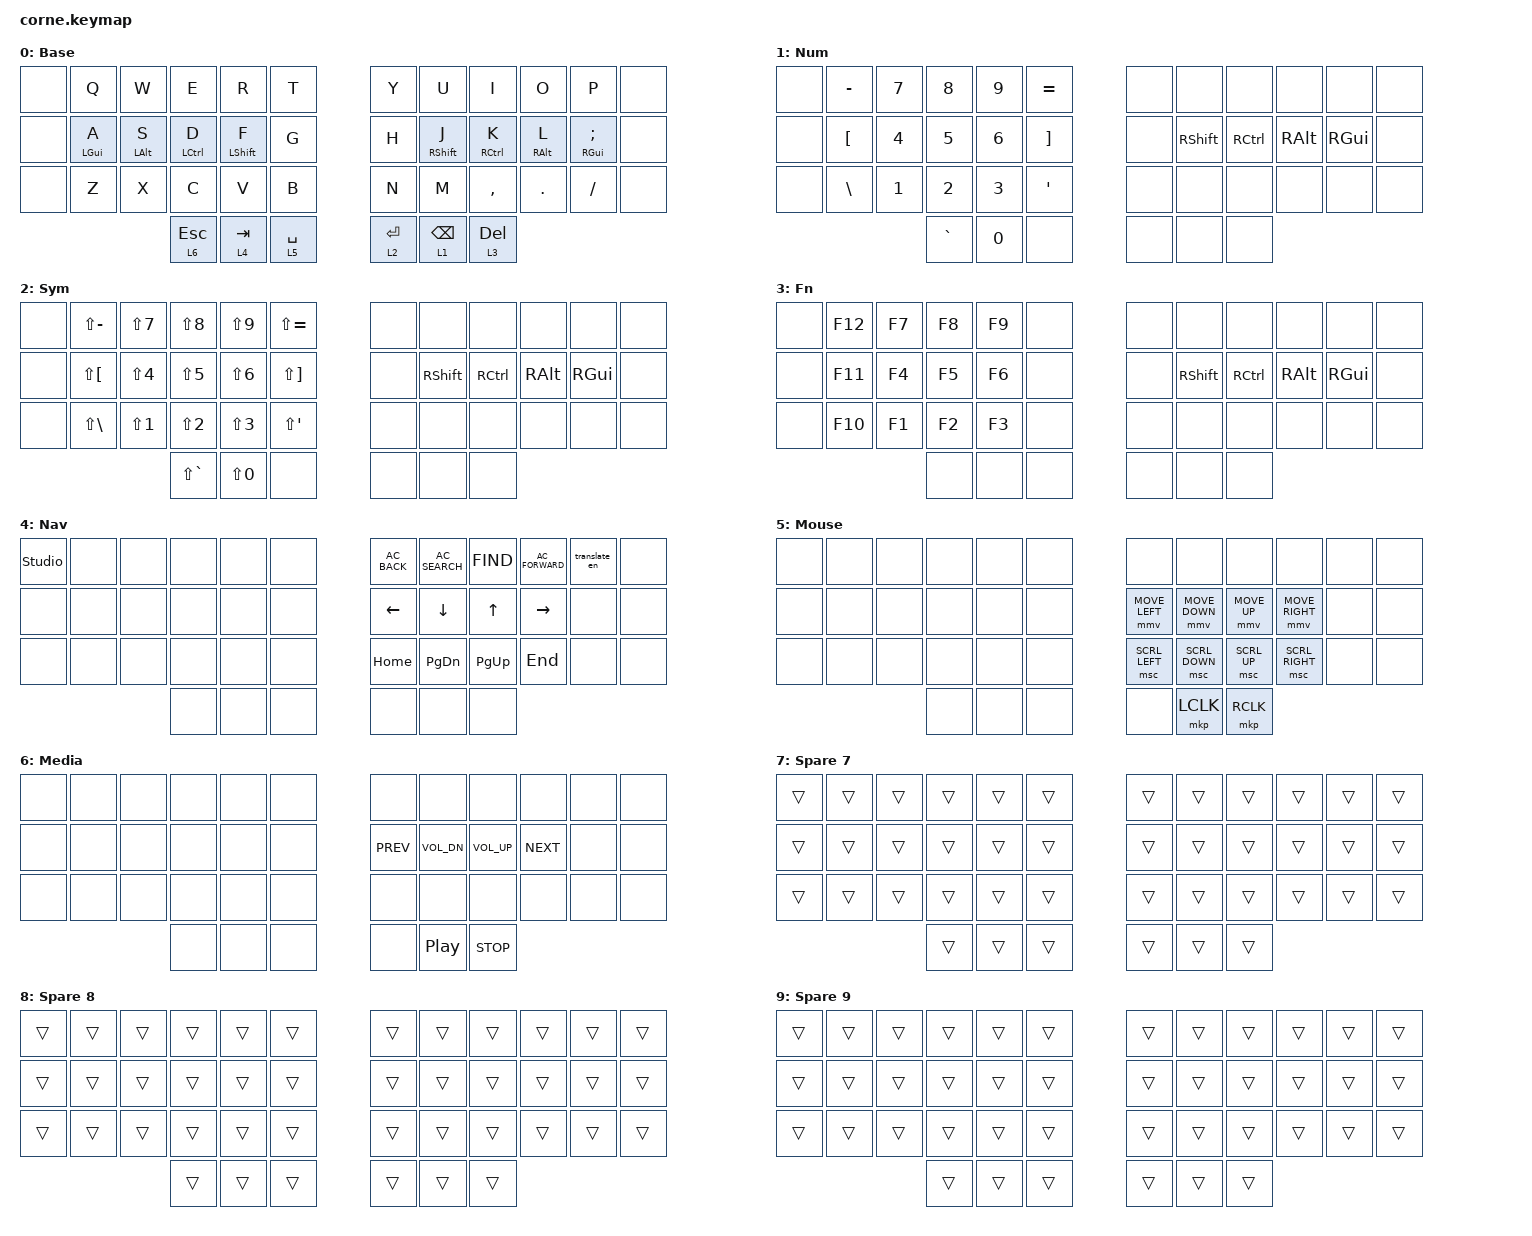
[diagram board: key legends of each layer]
/* Corne Cherry v3 (42 keys), ZMK v0.3. See config/corne.conf:
 * CONFIG_ZMK_POINTING=y
 * CONFIG_ZMK_HID_CONSUMER_REPORT_USAGES_FULL=y
 *
 * Each finger row is in typing order: left six | right six. The Vial
 * layout uses the inner five columns on each half. The only added binding
 * is Studio Unlock on Nav, immediately to the left of the Q position.
 */
#include <behaviors.dtsi>
#include <dt-bindings/zmk/keys.h>
#include <dt-bindings/zmk/pointing.h>

/* Vial tapping term: 200 ms, permissive hold, repeated tap can be held. */
&mt {
    tapping-term-ms = <200>;
    quick-tap-ms = <200>;
    flavor = "balanced";
};

&lt {
    tapping-term-ms = <200>;
    quick-tap-ms = <200>;
    flavor = "balanced";
};

/ {
    macros {
        translate_en: translate_en {
            compatible = "zmk,behavior-macro";
            #binding-cells = <0>;
            display-name = "Translate EN";
            tap-ms = <10>;
            wait-ms = <10>;
            /* Vial M0: "translate to English:" then Right Shift + Enter. */
            bindings = <&macro_tap>,
                       <&kp T &kp R &kp A &kp N &kp S &kp L &kp A &kp T &kp E &kp SPACE>,
                       <&kp T &kp O &kp SPACE>,
                       <&kp LS(E) &kp N &kp G &kp L &kp I &kp S &kp H &kp COLON>,
                       <&kp RS(ENTER)>;
        };
    };

    keymap {
        compatible = "zmk,keymap";

        base_layer {
            display-name = "Base";
            bindings = <
                &none  &kp Q        &kp W       &kp E        &kp R        &kp T        &kp Y        &kp U        &kp I        &kp O       &kp P         &none
                &none  &mt LGUI A   &mt LALT S  &mt LCTRL D  &mt LSHFT F  &kp G        &kp H        &mt RSHFT J  &mt RCTRL K  &mt RALT L  &mt RGUI SEMI &none
                &none  &kp Z        &kp X       &kp C        &kp V        &kp B        &kp N        &kp M        &kp COMMA    &kp DOT     &kp FSLH      &none
                                                &lt 6 ESC    &lt 4 TAB    &lt 5 SPACE  &lt 2 ENTER  &lt 1 BSPC   &lt 3 DELETE
            >;
        };

        number_layer {
            display-name = "Num";
            bindings = <
                &none  &kp MINUS  &kp N7  &kp N8     &kp N9  &kp EQUAL      &none  &none      &none      &none     &none     &none
                &none  &kp LBKT   &kp N4  &kp N5     &kp N6  &kp RBKT       &none  &kp RSHFT  &kp RCTRL  &kp RALT  &kp RGUI  &none
                &none  &kp BSLH   &kp N1  &kp N2     &kp N3  &kp SQT        &none  &none      &none      &none     &none     &none
                                          &kp GRAVE  &kp N0  &none          &none  &none      &none
            >;
        };

        symbol_layer {
            display-name = "Sym";
            bindings = <
                &none  &kp LS(MINUS)  &kp LS(N7)  &kp LS(N8)     &kp LS(N9)  &kp LS(EQUAL)   &none  &none      &none      &none     &none     &none
                &none  &kp LS(LBKT)   &kp LS(N4)  &kp LS(N5)     &kp LS(N6)  &kp LS(RBKT)    &none  &kp RSHFT  &kp RCTRL  &kp RALT  &kp RGUI  &none
                &none  &kp LS(BSLH)   &kp LS(N1)  &kp LS(N2)     &kp LS(N3)  &kp LS(SQT)     &none  &none      &none      &none     &none     &none
                                                  &kp LS(GRAVE)  &kp LS(N0)  &none           &none  &none      &none
            >;
        };

        function_layer {
            display-name = "Fn";
            bindings = <
                &none  &kp F12  &kp F7  &kp F8  &kp F9  &none       &none  &none      &none      &none     &none     &none
                &none  &kp F11  &kp F4  &kp F5  &kp F6  &none       &none  &kp RSHFT  &kp RCTRL  &kp RALT  &kp RGUI  &none
                &none  &kp F10  &kp F1  &kp F2  &kp F3  &none       &none  &none      &none      &none     &none     &none
                                        &none   &none   &none       &none  &none      &none
            >;
        };

        navigation_layer {
            display-name = "Nav";
            bindings = <
                &studio_unlock  &none  &none  &none  &none  &none       &kp C_AC_BACK  &kp C_AC_SEARCH  &kp K_FIND  &kp C_AC_FORWARD  &translate_en  &none
                &none           &none  &none  &none  &none  &none       &kp LEFT       &kp DOWN         &kp UP      &kp RIGHT         &none          &none
                &none           &none  &none  &none  &none  &none       &kp HOME       &kp PG_DN        &kp PG_UP   &kp END           &none          &none
                                              &none  &none  &none       &none          &none            &none
            >;
        };

        mouse_layer {
            display-name = "Mouse";
            bindings = <
                &none  &none  &none  &none  &none  &none       &none           &none           &none         &none            &none  &none
                &none  &none  &none  &none  &none  &none       &mmv MOVE_LEFT  &mmv MOVE_DOWN  &mmv MOVE_UP  &mmv MOVE_RIGHT  &none  &none
                &none  &none  &none  &none  &none  &none       &msc SCRL_LEFT  &msc SCRL_DOWN  &msc SCRL_UP  &msc SCRL_RIGHT  &none  &none
                                     &none  &none  &none       &none           &mkp LCLK       &mkp RCLK
            >;
        };

        media_layer {
            display-name = "Media";
            bindings = <
                &none  &none  &none  &none  &none  &none       &none       &none             &none         &none       &none  &none
                &none  &none  &none  &none  &none  &none       &kp C_PREV  &kp C_VOL_DN      &kp C_VOL_UP  &kp C_NEXT  &none  &none
                &none  &none  &none  &none  &none  &none       &none       &none             &none         &none       &none  &none
                                     &none  &none  &none       &none       &kp C_PLAY_PAUSE  &kp C_STOP
            >;
        };

        layer_7 {
            display-name = "Spare 7";
            bindings = <
                &trans &trans &trans &trans &trans &trans    &trans &trans &trans &trans &trans &trans
                &trans &trans &trans &trans &trans &trans    &trans &trans &trans &trans &trans &trans
                &trans &trans &trans &trans &trans &trans    &trans &trans &trans &trans &trans &trans
                                     &trans &trans &trans    &trans &trans &trans
            >;
        };

        layer_8 {
            display-name = "Spare 8";
            bindings = <
                &trans &trans &trans &trans &trans &trans    &trans &trans &trans &trans &trans &trans
                &trans &trans &trans &trans &trans &trans    &trans &trans &trans &trans &trans &trans
                &trans &trans &trans &trans &trans &trans    &trans &trans &trans &trans &trans &trans
                                     &trans &trans &trans    &trans &trans &trans
            >;
        };

        layer_9 {
            display-name = "Spare 9";
            bindings = <
                &trans &trans &trans &trans &trans &trans    &trans &trans &trans &trans &trans &trans
                &trans &trans &trans &trans &trans &trans    &trans &trans &trans &trans &trans &trans
                &trans &trans &trans &trans &trans &trans    &trans &trans &trans &trans &trans &trans
                                     &trans &trans &trans    &trans &trans &trans
            >;
        };
    };
};
